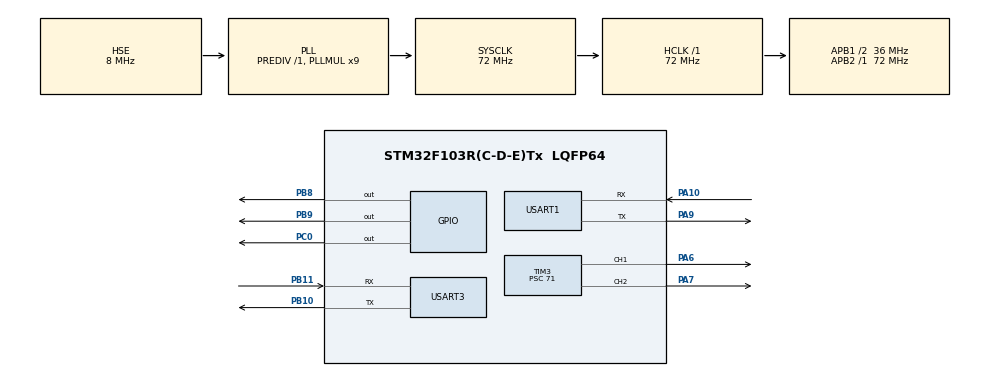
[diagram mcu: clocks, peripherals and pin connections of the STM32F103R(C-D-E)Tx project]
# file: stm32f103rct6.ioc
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Dma.Request0=USART3_RX
Dma.Request1=USART3_TX
Dma.Request2=USART1_RX
Dma.Request3=USART1_TX
Dma.USART1_RX.2.Direction=DMA_PERIPH_TO_MEMORY
Dma.USART1_RX.2.Instance=DMA1_Channel5
Dma.USART1_RX.2.MemDataAlignment=DMA_MDATAALIGN_BYTE
Dma.USART1_RX.2.MemInc=DMA_MINC_ENABLE
Dma.USART1_RX.2.Mode=DMA_NORMAL
Dma.USART1_RX.2.PeriphDataAlignment=DMA_PDATAALIGN_BYTE
Dma.USART1_RX.2.PeriphInc=DMA_PINC_DISABLE
Dma.USART1_RX.2.Priority=DMA_PRIORITY_HIGH
Dma.USART1_TX.3.Direction=DMA_MEMORY_TO_PERIPH
Dma.USART1_TX.3.Instance=DMA1_Channel4
Dma.USART1_TX.3.MemDataAlignment=DMA_MDATAALIGN_BYTE
Dma.USART1_TX.3.MemInc=DMA_MINC_ENABLE
Dma.USART1_TX.3.Mode=DMA_NORMAL
Dma.USART1_TX.3.PeriphDataAlignment=DMA_PDATAALIGN_BYTE
Dma.USART1_TX.3.PeriphInc=DMA_PINC_DISABLE
Dma.USART1_TX.3.Priority=DMA_PRIORITY_HIGH
Dma.USART3_RX.0.Direction=DMA_PERIPH_TO_MEMORY
Dma.USART3_RX.0.Instance=DMA1_Channel3
Dma.USART3_RX.0.MemDataAlignment=DMA_MDATAALIGN_BYTE
Dma.USART3_RX.0.MemInc=DMA_MINC_ENABLE
Dma.USART3_RX.0.Mode=DMA_NORMAL
Dma.USART3_RX.0.PeriphDataAlignment=DMA_PDATAALIGN_BYTE
Dma.USART3_RX.0.PeriphInc=DMA_PINC_DISABLE
Dma.USART3_RX.0.Priority=DMA_PRIORITY_HIGH
Dma.USART3_TX.1.Direction=DMA_MEMORY_TO_PERIPH
Dma.USART3_TX.1.Instance=DMA1_Channel2
Dma.USART3_TX.1.MemDataAlignment=DMA_MDATAALIGN_BYTE
Dma.USART3_TX.1.MemInc=DMA_MINC_ENABLE
Dma.USART3_TX.1.Mode=DMA_NORMAL
Dma.USART3_TX.1.PeriphDataAlignment=DMA_PDATAALIGN_BYTE
Dma.USART3_TX.1.PeriphInc=DMA_PINC_DISABLE
Dma.USART3_TX.1.Priority=DMA_PRIORITY_HIGH
Mcu.Family=STM32F1
Mcu.Name=STM32F103R(C-D-E)Tx
Mcu.Package=LQFP64
NVIC.DMA1_Channel2_IRQn=true\:0\:0\:false\:false\:true\:false\:true\:true
NVIC.DMA1_Channel3_IRQn=true\:0\:0\:false\:false\:true\:false\:true\:true
NVIC.DMA1_Channel4_IRQn=true\:0\:0\:false\:false\:true\:false\:true\:true
NVIC.DMA1_Channel5_IRQn=true\:0\:0\:false\:false\:true\:false\:true\:true
NVIC.PriorityGroup=NVIC_PRIORITYGROUP_4
NVIC.TIM2_IRQn=true\:0\:0\:false\:false\:true\:true\:true\:true
NVIC.USART1_IRQn=true\:0\:0\:false\:false\:true\:true\:true\:true
NVIC.USART3_IRQn=true\:0\:0\:false\:false\:true\:true\:true\:true
PA10.Mode=Asynchronous
PA10.Signal=USART1_RX
PA13.Mode=Serial_Wire
PA13.Signal=SYS_JTMS-SWDIO
PA14.Mode=Serial_Wire
PA14.Signal=SYS_JTCK-SWCLK
PA6.Signal=S_TIM3_CH1
PA7.Signal=S_TIM3_CH2
PA8.Signal=USART1_CK
PA9.Mode=Asynchronous
PA9.Signal=USART1_TX
PB10.Mode=Asynchronous
PB10.Signal=USART3_TX
PB11.Mode=Asynchronous
PB11.Signal=USART3_RX
PB8.GPIO_ModeDefaultOutputPP=GPIO_MODE_OUTPUT_OD
PB8.GPIO_PuPd=GPIO_PULLUP
PB8.GPIO_Speed=GPIO_SPEED_FREQ_HIGH
PB8.PinState=GPIO_PIN_SET
PB8.Signal=GPIO_Output
PB9.GPIO_ModeDefaultOutputPP=GPIO_MODE_OUTPUT_OD
PB9.GPIO_PuPd=GPIO_PULLUP
PB9.GPIO_Speed=GPIO_SPEED_FREQ_HIGH
PB9.PinState=GPIO_PIN_SET
PB9.Signal=GPIO_Output
PC0.GPIO_ModeDefaultOutputPP=GPIO_MODE_OUTPUT_OD
PC0.GPIO_PuPd=GPIO_PULLUP
PC0.GPIO_Speed=GPIO_SPEED_FREQ_HIGH
PC0.PinState=GPIO_PIN_SET
PC0.Signal=GPIO_Output
PC14-OSC32_IN.Mode=LSE-External-Oscillator
PC14-OSC32_IN.Signal=RCC_OSC32_IN
PC15-OSC32_OUT.Mode=LSE-External-Oscillator
PC15-OSC32_OUT.Signal=RCC_OSC32_OUT
PD0-OSC_IN.Mode=HSE-External-Oscillator
PD0-OSC_IN.Signal=RCC_OSC_IN
PD1-OSC_OUT.Mode=HSE-External-Oscillator
PD1-OSC_OUT.Signal=RCC_OSC_OUT
ProjectManager.HeapSize=0x200
ProjectManager.StackSize=0x400
ProjectManager.TargetToolchain=MDK-ARM V5.32
RCC.AHBFreq_Value=72000000
RCC.APB1CLKDivider=RCC_HCLK_DIV2
RCC.APB1Freq_Value=36000000
RCC.APB1TimFreq_Value=72000000
RCC.APB2Freq_Value=72000000
RCC.APB2TimFreq_Value=72000000
RCC.HCLKFreq_Value=72000000
RCC.PLLMUL=RCC_PLL_MUL9
RCC.PLLSourceVirtual=RCC_PLLSOURCE_HSE
RCC.SYSCLKFreq_VALUE=72000000
RCC.SYSCLKSource=RCC_SYSCLKSOURCE_PLLCLK
RCC.USBFreq_Value=72000000
SH.S_TIM3_CH1.0=TIM3_CH1,PWM Generation1 CH1
SH.S_TIM3_CH2.0=TIM3_CH2,PWM Generation2 CH2
TIM2.AutoReloadPreload=TIM_AUTORELOAD_PRELOAD_ENABLE
TIM2.Period=10000-1
TIM2.Prescaler=7200-1
TIM3.AutoReloadPreload=TIM_AUTORELOAD_PRELOAD_ENABLE
TIM3.Channel-PWM\ Generation1\ CH1=TIM_CHANNEL_1
TIM3.Channel-PWM\ Generation2\ CH2=TIM_CHANNEL_2
TIM3.OCPolarity_1=TIM_OCPOLARITY_LOW
TIM3.Period=500
TIM3.Prescaler=71
USART1.VirtualMode=VM_ASYNC
USART3.VirtualMode=VM_ASYNC
VP_TIM1_VS_ClockSourceINT.Mode=Internal
VP_TIM2_VS_ClockSourceINT.Mode=Internal
VP_TIM3_VS_ClockSourceINT.Mode=Internal
board=custom

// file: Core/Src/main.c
/* USER CODE BEGIN Header */
/**
  ******************************************************************************
  * @file           : main.c
  * @brief          : Main program body
  ******************************************************************************
  * @attention
  *
  * Copyright (c) 2024 STMicroelectronics.
  * All rights reserved.
  *
  * This software is licensed under terms that can be found in the LICENSE file
  * in the root directory of this software component.
  * If no LICENSE file comes with this software, it is provided AS-IS.
  *
  ******************************************************************************
  */
/* USER CODE END Header */
#include "main.h"
#include "dma.h"
#include "tim.h"
#include "usart.h"
#include "gpio.h"

/* USER CODE BEGIN Includes */
#include "string.h"
#include "stdio.h "
#include "OLED.h"
#include "time.h"
#include "Dma_Serial.h"
/* USER CODE END Includes */

/* USER CODE BEGIN PTD */
UART_HandleTypeDef huart2;
DMA_HandleTypeDef hdma_usart2_rx;
DMA_HandleTypeDef hdma_usart2_tx;
/* USER CODE END PTD */

void SystemClock_Config(void);

int main(void)
{

  /* MCU Configuration--------------------------------------------------------*/

  /* Reset of all peripherals, Initializes the Flash interface and the Systick. */
  HAL_Init();

  /* Configure the system clock */
  SystemClock_Config();

  /* Initialize all configured peripherals */
  MX_GPIO_Init();
  MX_DMA_Init();
  MX_TIM3_Init();
  MX_USART3_UART_Init();
  MX_USART1_UART_Init();
  MX_TIM1_Init();
  MX_TIM2_Init();
  /* USER CODE BEGIN 2 */
  OLED_Init();
  OLED_Clear();
  timer_init();
  HAL_UARTEx_ReceiveToIdle_DMA(&huart1, xUart1.BuffTemp, sizeof(xUart1.BuffTemp));
  /* USER CODE END 2 */

  /* Infinite loop */
  while (1)
  {

    /* USER CODE BEGIN 3 */
	  HAL_GPIO_WritePin(GPIOC,GPIO_PIN_0,GPIO_PIN_SET);
//	  if (xUart1.ReceiveNum)
//    {

//      for (uint16_t i = 0; i < xUart1.ReceiveNum; i++)
//       { processData(xUart1.ReceiveData[i]);
//	   printf("%d",xUart1.ReceiveData[i]);
//	   }
//      xUart1.ReceiveNum = 0;
//    }
	  printf("%d\r\n",12);
	  OLED_ShowString(0,0,"Yaw:",8,1);

	  OLED_Showfloat(24, 0,1.8, 8, 1);
	  OLED_ShowNum(0, 9, time1, 8, 8, 1);
	  OLED_Refresh();

  }
  /* USER CODE END 3 */
}

void SystemClock_Config(void)
{
  RCC_OscInitTypeDef RCC_OscInitStruct = {0};
  RCC_ClkInitTypeDef RCC_ClkInitStruct = {0};

  /** Initializes the RCC Oscillators according to the specified parameters
  * in the RCC_OscInitTypeDef structure.
  */
  RCC_OscInitStruct.OscillatorType = RCC_OSCILLATORTYPE_HSE;
  RCC_OscInitStruct.HSEState = RCC_HSE_ON;
  RCC_OscInitStruct.HSEPredivValue = RCC_HSE_PREDIV_DIV1;
  RCC_OscInitStruct.HSIState = RCC_HSI_ON;
  RCC_OscInitStruct.PLL.PLLState = RCC_PLL_ON;
  RCC_OscInitStruct.PLL.PLLSource = RCC_PLLSOURCE_HSE;
  RCC_OscInitStruct.PLL.PLLMUL = RCC_PLL_MUL9;
  if (HAL_RCC_OscConfig(&RCC_OscInitStruct) != HAL_OK)
  {
    Error_Handler();
  }

  /** Initializes the CPU, AHB and APB buses clocks
  */
  RCC_ClkInitStruct.ClockType = RCC_CLOCKTYPE_HCLK|RCC_CLOCKTYPE_SYSCLK
                              |RCC_CLOCKTYPE_PCLK1|RCC_CLOCKTYPE_PCLK2;
  RCC_ClkInitStruct.SYSCLKSource = RCC_SYSCLKSOURCE_PLLCLK;
  RCC_ClkInitStruct.AHBCLKDivider = RCC_SYSCLK_DIV1;
  RCC_ClkInitStruct.APB1CLKDivider = RCC_HCLK_DIV2;
  RCC_ClkInitStruct.APB2CLKDivider = RCC_HCLK_DIV1;

  if (HAL_RCC_ClockConfig(&RCC_ClkInitStruct, FLASH_LATENCY_2) != HAL_OK)
  {
    Error_Handler();
  }
}

void Error_Handler(void)
{
  __disable_irq();
  while (1)
  {
  }
}
